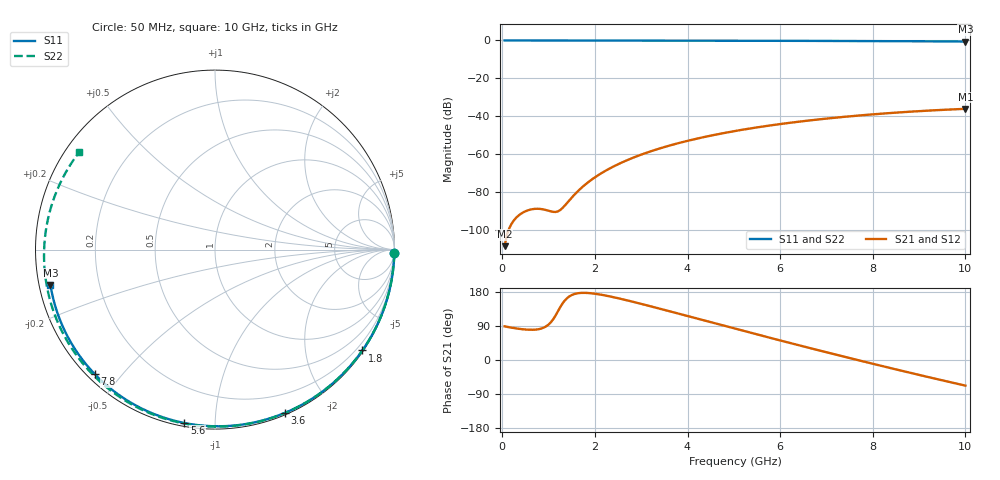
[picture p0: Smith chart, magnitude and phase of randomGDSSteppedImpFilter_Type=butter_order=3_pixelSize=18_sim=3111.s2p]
! freq	dB(S11)	phase(S11)	dB(S12)	phase(S12)
!  dB(S21)	phase(S21)	dB(S22)	phase(S22)
!S-par simulation data
#  GHz  S  DB  R 50
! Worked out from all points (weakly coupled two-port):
!   200 points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, 50 MHz to 10 GHz, reference 50 ohm
!   highest |S21| = -36.01 dB at 10 GHz (marker M1); lowest = -108.3 dB at 50 MHz (marker M2)
!   lowest |S11| = -0.6 dB at 10 GHz (marker M3), VSWR 31.06, Z = 1.63 - j5.32 ohm
!   |S11| at or under -10 dB: nowhere
!   |S22| runs from -0.6 to 0.0 dB; largest |S21 - S12| = 0
!   S11 on the Smith chart (normalised r, x): 50 MHz: open; 1.8 GHz: 0.03, -3.23; 3.6 GHz: 0.02, -1.52; 5.6 GHz: 0.02, -0.84; 7.8 GHz: 0.02, -0.43; 10 GHz: 0.03, -0.11
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0.05  -0.00 -0.9  -108.31 88.8  -108.31 88.8  -0.01 -1.2
0.45  -0.01 -8.7  -90.54 81.0  -90.54 81.0  -0.02 -11.2
0.8  -0.02 -15.4  -88.66 81.7  -88.66 81.7  -0.03 -19.9
1.2  -0.03 -23.1  -90.01 128.2  -90.01 128.2  -0.04 -29.7
1.6  -0.04 -30.6  -80.12 175.4  -80.12 175.4  -0.05 -39.3
1.75  -0.04 -33.4  -76.71 177.2  -76.71 177.2  -0.05 -42.9
1.8  -0.04 -34.4  -75.69 177.2  -75.69 177.2  -0.06 -44.1
2.1  -0.05 -39.9  -70.48 173.0  -70.48 173.0  -0.06 -51.1
2.45  -0.06 -46.4  -65.77 164.4  -65.77 164.4  -0.07 -59.2
2.9  -0.07 -54.5  -61.02 151.2  -61.02 151.2  -0.09 -69.4
3.4  -0.08 -63.3  -56.85 135.5  -56.85 135.5  -0.10 -80.4
3.6  -0.09 -66.8  -55.42 129.0  -55.42 129.0  -0.11 -84.7
4.3  -0.11 -78.8  -51.16 106.3  -51.16 106.3  -0.14 -99.5
5.05  -0.14 -91.1  -47.57 81.9  -47.57 81.9  -0.17 -114.8
5.6  -0.17 -100.0  -45.40 64.3  -45.40 64.3  -0.20 -125.7
6.15  -0.20 -108.6  -43.54 46.9  -43.54 46.9  -0.24 -136.4
6.7  -0.23 -117.2  -41.93 29.7  -41.93 29.7  -0.28 -147.1
7.25  -0.27 -125.6  -40.52 12.7  -40.52 12.7  -0.32 -157.9
7.8  -0.31 -133.9  -39.30 -3.9  -39.30 -3.9  -0.37 -168.7
8.35  -0.37 -142.3  -38.25 -20.4  -38.25 -20.4  -0.43 -179.8
9.2  -0.46 -155.3  -36.93 -45.1  -36.93 -45.1  -0.52 162.4
10  -0.56 -167.8  -36.01 -67.6  -36.01 -67.6  -0.62 144.4
